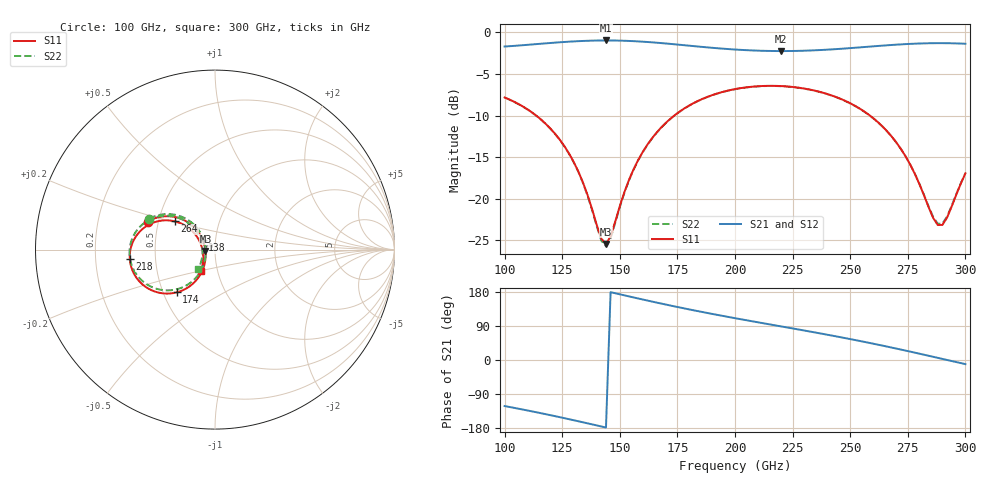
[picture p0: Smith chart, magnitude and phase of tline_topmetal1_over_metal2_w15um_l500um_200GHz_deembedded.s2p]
! Created with skrf 2.0.1 (http://scikit-rf.org).
# GHz S DB R 50.0
!freq dBS11 angS11 dBS21 angS21 dBS12 angS12 dBS22 angS22
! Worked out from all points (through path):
!   101 points, 100 GHz to 300 GHz, reference 50 ohm
!   highest |S21| = -0.96 dB at 144 GHz (marker M1); lowest = -2.2 dB at 220 GHz (marker M2)
!   group delay of S21, straight-line fit = 3.39 ps
!   lowest |S11| = -25.4 dB at 144 GHz (marker M3), VSWR 1.11, Z = 45 - j0.723 ohm
!   |S11| at or under -10 dB: 113.8 GHz to 173.6 GHz (59.85 GHz wide, 41.7 % of centre); 258.6 GHz to end of sweep
!   |S22| runs from -25.7 to -6.4 dB; largest |S21 - S12| = 1.1e-14
!   S11 on the Smith chart (normalised r, x): 100 GHz: 0.44, +0.16; 138 GHz: 0.87, +0.09; 174 GHz: 0.59, -0.31; 218 GHz: 0.35, -0.05; 264 GHz: 0.61, +0.21; 300 GHz: 0.83, -0.20
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100  -7.81 157.4  -1.69 -121.5  -1.69 -121.5  -7.83 155.0
120  -11.58 138.5  -1.26 -145.8  -1.26 -145.8  -11.60 135.6
128  -14.57 133.5  -1.11 -156.3  -1.11 -156.3  -14.60 130.2
134  -18.02 134.4  -1.02 -164.4  -1.02 -164.4  -18.08 130.8
138  -21.26 142.2  -0.98 -169.9  -0.98 -169.9  -21.37 138.3
142  -24.79 167.1  -0.96 -175.5  -0.96 -175.5  -25.03 163.4
144  -25.41 -171.4  -0.96 -178.2  -0.96 -178.2  -25.69 -174.5
156  -16.43 -120.6  -1.05 165.1  -1.05 165.1  -16.48 -123.4
168  -11.41 -126.4  -1.28 148.9  -1.28 148.9  -11.44 -129.8
174  -9.91 -131.8  -1.43 141.2  -1.43 141.2  -9.93 -135.4
186  -7.97 -143.4  -1.74 126.4  -1.74 126.4  -7.99 -147.4
200  -6.81 -157.1  -2.05 110.4  -2.05 110.4  -6.82 -161.3
218  -6.42 -174.0  -2.23 90.8  -2.23 90.8  -6.44 -178.7
220  -6.44 -175.8  -2.24 88.7  -2.24 88.7  -6.46 179.4
234  -6.95 171.2  -2.15 73.5  -2.15 73.5  -6.97 166.1
250  -8.51 156.5  -1.88 55.2  -1.88 55.2  -8.53 151.0
264  -11.30 144.8  -1.58 38.0  -1.58 38.0  -11.31 139.1
268  -12.50 142.3  -1.50 32.8  -1.50 32.8  -12.51 136.5
276  -15.86 140.9  -1.37 22.2  -1.37 22.2  -15.85 135.1
288  -23.14 -178.9  -1.29 5.7  -1.29 5.7  -22.99 174.8
292  -22.28 -147.9  -1.29 0.1  -1.29 0.1  -22.15 -155.0
300  -16.94 -123.7  -1.36 -10.9  -1.36 -10.9  -16.91 -131.0
